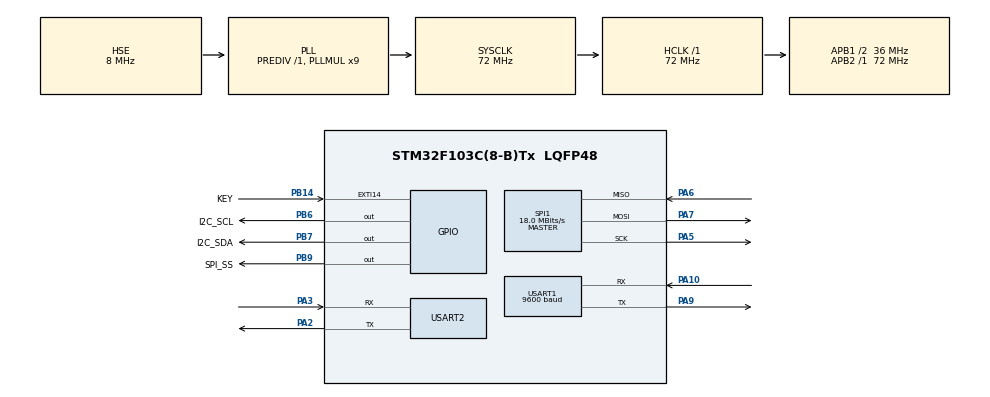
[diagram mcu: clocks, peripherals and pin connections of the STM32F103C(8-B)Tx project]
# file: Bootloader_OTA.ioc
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Dma.Request0=USART1_RX
Dma.Request1=USART2_RX
Dma.USART1_RX.0.Direction=DMA_PERIPH_TO_MEMORY
Dma.USART1_RX.0.Instance=DMA1_Channel5
Dma.USART1_RX.0.MemDataAlignment=DMA_MDATAALIGN_BYTE
Dma.USART1_RX.0.MemInc=DMA_MINC_ENABLE
Dma.USART1_RX.0.Mode=DMA_NORMAL
Dma.USART1_RX.0.PeriphDataAlignment=DMA_PDATAALIGN_BYTE
Dma.USART1_RX.0.PeriphInc=DMA_PINC_DISABLE
Dma.USART1_RX.0.Priority=DMA_PRIORITY_MEDIUM
Dma.USART2_RX.1.Direction=DMA_PERIPH_TO_MEMORY
Dma.USART2_RX.1.Instance=DMA1_Channel6
Dma.USART2_RX.1.MemDataAlignment=DMA_MDATAALIGN_BYTE
Dma.USART2_RX.1.MemInc=DMA_MINC_ENABLE
Dma.USART2_RX.1.Mode=DMA_NORMAL
Dma.USART2_RX.1.PeriphDataAlignment=DMA_PDATAALIGN_BYTE
Dma.USART2_RX.1.PeriphInc=DMA_PINC_DISABLE
Dma.USART2_RX.1.Priority=DMA_PRIORITY_LOW
Mcu.Family=STM32F1
Mcu.Name=STM32F103C(8-B)Tx
Mcu.Package=LQFP48
NVIC.DMA1_Channel5_IRQn=true\:5\:0\:true\:false\:true\:false\:true\:true
NVIC.DMA1_Channel6_IRQn=true\:0\:0\:false\:false\:true\:false\:true\:true
NVIC.EXTI15_10_IRQn=true\:0\:0\:false\:false\:true\:true\:true\:true
NVIC.PriorityGroup=NVIC_PRIORITYGROUP_4
NVIC.USART1_IRQn=true\:1\:0\:true\:false\:true\:true\:true\:true
NVIC.USART2_IRQn=true\:0\:0\:true\:false\:true\:true\:true\:true
PA10.Mode=Asynchronous
PA10.Signal=USART1_RX
PA13.Mode=Serial_Wire
PA13.Signal=SYS_JTMS-SWDIO
PA14.Mode=Serial_Wire
PA14.Signal=SYS_JTCK-SWCLK
PA2.Mode=Asynchronous
PA2.Signal=USART2_TX
PA3.Mode=Asynchronous
PA3.Signal=USART2_RX
PA5.Mode=Full_Duplex_Master
PA5.Signal=SPI1_SCK
PA6.Mode=Full_Duplex_Master
PA6.Signal=SPI1_MISO
PA7.Mode=Full_Duplex_Master
PA7.Signal=SPI1_MOSI
PA9.Mode=Asynchronous
PA9.Signal=USART1_TX
PB14.GPIO_Label=KEY
PB14.GPIO_ModeDefaultEXTI=GPIO_MODE_IT_FALLING
PB14.GPIO_PuPd=GPIO_PULLUP
PB14.Signal=GPXTI14
PB6.GPIO_Label=I2C_SCL
PB6.GPIO_Speed=GPIO_SPEED_FREQ_HIGH
PB6.Signal=GPIO_Output
PB7.GPIO_Label=I2C_SDA
PB7.GPIO_ModeDefaultOutputPP=GPIO_MODE_OUTPUT_OD
PB7.GPIO_PuPd=GPIO_NOPULL
PB7.GPIO_Speed=GPIO_SPEED_FREQ_HIGH
PB7.PinState=GPIO_PIN_SET
PB7.Signal=GPIO_Output
PB9.GPIO_Label=SPI_SS
PB9.GPIO_Speed=GPIO_SPEED_FREQ_HIGH
PB9.PinState=GPIO_PIN_SET
PB9.Signal=GPIO_Output
PC14-OSC32_IN.Mode=LSE-External-Oscillator
PC14-OSC32_IN.Signal=RCC_OSC32_IN
PC15-OSC32_OUT.Mode=LSE-External-Oscillator
PC15-OSC32_OUT.Signal=RCC_OSC32_OUT
PD0-OSC_IN.Mode=HSE-External-Oscillator
PD0-OSC_IN.Signal=RCC_OSC_IN
PD1-OSC_OUT.Mode=HSE-External-Oscillator
PD1-OSC_OUT.Signal=RCC_OSC_OUT
ProjectManager.HeapSize=0x200
ProjectManager.StackSize=0x400
ProjectManager.TargetToolchain=MDK-ARM V5.32
RCC.AHBFreq_Value=72000000
RCC.APB1CLKDivider=RCC_HCLK_DIV2
RCC.APB1Freq_Value=36000000
RCC.APB1TimFreq_Value=72000000
RCC.APB2Freq_Value=72000000
RCC.APB2TimFreq_Value=72000000
RCC.HCLKFreq_Value=72000000
RCC.PLLMUL=RCC_PLL_MUL9
RCC.PLLSourceVirtual=RCC_PLLSOURCE_HSE
RCC.SYSCLKFreq_VALUE=72000000
RCC.SYSCLKSource=RCC_SYSCLKSOURCE_PLLCLK
RCC.USBFreq_Value=72000000
SPI1.BaudRatePrescaler=SPI_BAUDRATEPRESCALER_4
SPI1.CalculateBaudRate=18.0 MBits/s
SPI1.Direction=SPI_DIRECTION_2LINES
SPI1.Mode=SPI_MODE_MASTER
SPI1.VirtualType=VM_MASTER
USART1.BaudRate=9600
USART1.VirtualMode=VM_ASYNC
USART2.VirtualMode=VM_ASYNC
board=custom

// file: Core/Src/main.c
/* USER CODE BEGIN Header */
/**
  ******************************************************************************
  * @file           : main.c
  * @brief          : Main program body
  ******************************************************************************
  * @attention
  *
  * Copyright (c) 2026 STMicroelectronics.
  * All rights reserved.
  *
  * This software is licensed under terms that can be found in the LICENSE file
  * in the root directory of this software component.
  * If no LICENSE file comes with this software, it is provided AS-IS.
  *
  ******************************************************************************
  */
/* USER CODE END Header */
#include "main.h"
#include "dma.h"
#include "spi.h"
#include "usart.h"
#include "gpio.h"

/* USER CODE BEGIN Includes */
#include <stdio.h>
#include "W25Q64.h"
#include "FMC.h"
#include "AT24C02.h"
#include "Bootloader.h"
#include "ESP8266.h"
/* USER CODE END Includes */

/* USER CODE BEGIN PV */
OTA_CtlTypeDef OTA_CtlStructure;
uint8_t Rx_Buffer[RX_SIZE];
uint8_t Rx_OTABuffer[RX_SIZE];
UCB_CB U0CB;
uint32_t OTA_StatusFlag;
OTA_UpdataATypeDef OTA_UpdataA;
OTA_RecvTypeDef OTA_RecvHandle;
ManifestTypeDef ManifestHandle;
extern uint8_t ESP_Rx_Buf[ESP8266_UART_RX_BUF_SIZE];
extern uint8_t ESP_Tx_Buf[ESP8266_UART_TX_BUF_SIZE];
extern uint8_t esp_RxFlag;
extern uint32_t Rx_CNT;
uint8_t KEYFlag;
/* USER CODE END PV */

void SystemClock_Config(void);
/* USER CODE BEGIN PFP */
void UCB_Init(void);
/* USER CODE END PFP */

int main(void)
{

  /* MCU Configuration--------------------------------------------------------*/

  /* Reset of all peripherals, Initializes the Flash interface and the Systick. */
  HAL_Init();

  /* Configure the system clock */
  SystemClock_Config();

  /* Initialize all configured peripherals */
  MX_GPIO_Init();
  MX_DMA_Init();
  MX_USART1_UART_Init();
  MX_SPI1_Init();
  MX_USART2_UART_Init();
  /* USER CODE BEGIN 2 */
    uint8_t i;
   UCB_Init();
   HAL_UARTEx_ReceiveToIdle_DMA(&huart1,Rx_Buffer,RX_SIZE);
   HAL_UARTEx_ReceiveToIdle_DMA(&huart2,ESP_Rx_Buf,ESP8266_UART_RX_BUF_SIZE);
   AT24C02_READ_OTAInf();
   printf("begin connect...\r\n");
   if(ESP8266_Init()!= ESP8266_ERROR)
   {
   printf("connect success!\r\n");
   if(ESP8266_GetJson(&ManifestHandle)){
	   if(ESP8266_GetBinAndWrite()){
	      ESP8266_WriteInfo();
     //   NVIC_SystemReset();
		   }
   }
   }
   else
	{
		printf("connect fail! \r\n");
	}
   BootLoader_OTAJudge();
  /* USER CODE END 2 */

  /* Infinite loop */
  /* USER CODE BEGIN WHILE */
  while (1)
  {
	  if(KEYFlag){
      HAL_Delay(20);                                       // 消抖
      if(HAL_GPIO_ReadPin(KEY_GPIO_Port, KEY_Pin) == 0){   // 确认
          if(ESP8266_Reset()  != ESP8266_EOK){printf("reset fail\r\n!");}else{printf("reset success\r\n!");}
      }
      KEYFlag = 0;
  }
	HAL_Delay(10);
		if(U0CB.URxDataIn != U0CB.URxDataOut){
			BootLoader_Event(U0CB.URxDataOut->start,U0CB.URxDataOut->end - U0CB.URxDataOut->start+1);
			U0CB.URxDataOut++;
			if(U0CB.URxDataOut == U0CB.URxDataEnd){
			U0CB.URxDataOut = &U0CB.URxDataPtr[0];
			}
		}
		if(OTA_StatusFlag & XMODEM_SEND_C){
		      if(OTA_UpdataA.XmodemTimer > 100){
				printf("C");
				OTA_UpdataA.XmodemTimer = 0;
		      }
			  OTA_UpdataA.XmodemTimer ++;
		}

	  /* 判断更新标志位,从外部FLASH读取数据到内部FLASH*/
		if(OTA_StatusFlag & OTA_Status_UpdataA){
			printf("Size : %d Byte \r\n",OTA_CtlStructure.OTA_UpdataSize[OTA_UpdataA.UpdataEnum]);
			if(OTA_CtlStructure.OTA_UpdataSize[OTA_UpdataA.UpdataEnum] % 4 == 0){
				FMC_FlashPageErase(FMC_APP_START_PAGE,FMC_APP_PAGE_NUM);
				for( i = 0 ; i < OTA_CtlStructure.OTA_UpdataSize[OTA_UpdataA.UpdataEnum] / FMC_PAGE_SIZE ; i++){
					W25Q64_ReadBuffer(i*FMC_PAGE_SIZE + OTA_UpdataA.UpdataEnum * FMC_PAGE_SIZE *64 ,
									  OTA_UpdataA.OTA_UpdataABuffer,
									  FMC_PAGE_SIZE);
					FMC_FlashWrite(FMC_APP_ADDR+i*FMC_PAGE_SIZE,OTA_UpdataA.OTA_UpdataABuffer,FMC_PAGE_SIZE);
					printf("translate %d datapocket\r\n",i+1);
				}
				if(OTA_CtlStructure.OTA_UpdataSize[OTA_UpdataA.UpdataEnum] % FMC_PAGE_SIZE != 0){
					W25Q64_ReadBuffer(i*FMC_PAGE_SIZE + OTA_UpdataA.UpdataEnum * FMC_PAGE_SIZE *64 ,
					OTA_UpdataA.OTA_UpdataABuffer,
					OTA_CtlStructure.OTA_UpdataSize[OTA_UpdataA.UpdataEnum] % FMC_PAGE_SIZE);
					FMC_FlashWrite(FMC_APP_ADDR+i*FMC_PAGE_SIZE,
								   OTA_UpdataA.OTA_UpdataABuffer,
								   OTA_CtlStructure.OTA_UpdataSize[OTA_UpdataA.UpdataEnum] % FMC_PAGE_SIZE);
					printf("translate %d datapocket size : %d byte\r\n" ,i+1,
											(OTA_CtlStructure.OTA_UpdataSize[OTA_UpdataA.UpdataEnum] % FMC_PAGE_SIZE));
				}
				if(OTA_UpdataA.UpdataEnum == OTA_APP){
					OTA_CtlStructure.OTA_Flag = 0;
					AT24C02_Write_OTAInf();
					printf("SUCCESS !");
					OTA_StatusFlag &= ~OTA_Status_UpdataA;
				}
			}
			else{
				printf("Size Error！\r\n");
				OTA_StatusFlag &= ~OTA_Status_UpdataA;
			}
		}
    /* USER CODE END WHILE */

  }
}
void SystemClock_Config(void)
{
  RCC_OscInitTypeDef RCC_OscInitStruct = {0};
  RCC_ClkInitTypeDef RCC_ClkInitStruct = {0};

  /** Initializes the RCC Oscillators according to the specified parameters
  * in the RCC_OscInitTypeDef structure.
  */
  RCC_OscInitStruct.OscillatorType = RCC_OSCILLATORTYPE_HSE;
  RCC_OscInitStruct.HSEState = RCC_HSE_ON;
  RCC_OscInitStruct.HSEPredivValue = RCC_HSE_PREDIV_DIV1;
  RCC_OscInitStruct.HSIState = RCC_HSI_ON;
  RCC_OscInitStruct.PLL.PLLState = RCC_PLL_ON;
  RCC_OscInitStruct.PLL.PLLSource = RCC_PLLSOURCE_HSE;
  RCC_OscInitStruct.PLL.PLLMUL = RCC_PLL_MUL9;
  if (HAL_RCC_OscConfig(&RCC_OscInitStruct) != HAL_OK)
  {
    Error_Handler();
  }

  /** Initializes the CPU, AHB and APB buses clocks
  */
  RCC_ClkInitStruct.ClockType = RCC_CLOCKTYPE_HCLK|RCC_CLOCKTYPE_SYSCLK
                              |RCC_CLOCKTYPE_PCLK1|RCC_CLOCKTYPE_PCLK2;
  RCC_ClkInitStruct.SYSCLKSource = RCC_SYSCLKSOURCE_PLLCLK;
  RCC_ClkInitStruct.AHBCLKDivider = RCC_SYSCLK_DIV1;
  RCC_ClkInitStruct.APB1CLKDivider = RCC_HCLK_DIV2;
  RCC_ClkInitStruct.APB2CLKDivider = RCC_HCLK_DIV1;

  if (HAL_RCC_ClockConfig(&RCC_ClkInitStruct, FLASH_LATENCY_2) != HAL_OK)
  {
    Error_Handler();
  }
}

/* USER CODE BEGIN 4 */
void UCB_Init(void){
	U0CB.URxDataIn = &U0CB.URxDataPtr[0];
	U0CB.URxDataOut = &U0CB.URxDataPtr[0];
	U0CB.URxDataEnd = &U0CB.URxDataPtr[NUM-1];
	U0CB.URxDataIn->start = Rx_Buffer;
	U0CB.URxCounter = 0;
}
void HAL_UARTEx_RxEventCallback(UART_HandleTypeDef *huart, uint16_t Size){
	if(huart->Instance == USART1){
		uint16_t remain;
		U0CB.URxCounter += Size; //累加计数，计算总字节数
		U0CB.URxDataIn->end = &Rx_Buffer[U0CB.URxCounter-1];
		U0CB.URxDataIn ++ ;
		if(U0CB.URxDataIn == U0CB.URxDataEnd){  //判断是否到成员边界
		U0CB.URxDataIn = &U0CB.URxDataPtr[0];
		}
		if(RX_SIZE - U0CB.URxCounter >= RX_MAX){ //判断是否还有字节能够存放一个RX_MAX
		   U0CB.URxDataIn->start = &Rx_Buffer[U0CB.URxCounter]; //有则从当前计数值开始
			remain = RX_SIZE - U0CB.URxCounter;
		}
		else{
			U0CB.URxDataIn->start = Rx_Buffer;    //没有，则重新从头开始
			U0CB.URxCounter = 0;
			remain = RX_SIZE;
		}
		HAL_UARTEx_ReceiveToIdle_DMA(&huart1,U0CB.URxDataIn->start,remain);

	}
	if(huart->Instance == USART2){
	 /* 多帧累加: ESP响应常分多个IDLE帧到达, 接在上次末尾后面, 不覆盖.
	  * Rx_CNT 记录已累计字节数, SendCmd 处理完一条命令后会清零重置. */
	 Rx_CNT += Size;
	 esp_RxFlag = 1;
	 if(Rx_CNT >= ESP8266_UART_RX_BUF_SIZE - 1){
		 Rx_CNT = 0;   /* 防越界, 满了从头开始 */
	 }
	 HAL_UARTEx_ReceiveToIdle_DMA(&huart2, ESP_Rx_Buf + Rx_CNT,
								   ESP8266_UART_RX_BUF_SIZE - Rx_CNT);

	}

}

int fputc(int ch, FILE *f){

	HAL_UART_Transmit(&huart1,(uint8_t *)&ch,1,HAL_MAX_DELAY);
	return ch;

}

void HAL_GPIO_EXTI_Callback(uint16_t GPIO_Pin)
{
	if(GPIO_Pin == GPIO_PIN_14)
      KEYFlag = 1;
}
/* USER CODE END 4 */

void Error_Handler(void)
{
  __disable_irq();
  while (1)
  {
  }
}
